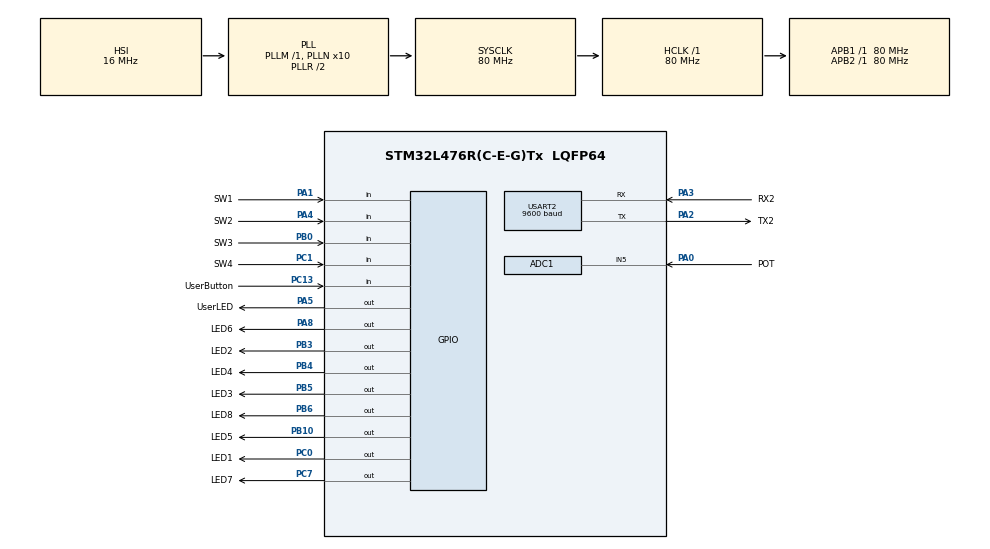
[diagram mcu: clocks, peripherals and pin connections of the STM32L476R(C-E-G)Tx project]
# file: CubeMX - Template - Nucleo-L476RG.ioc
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ADC1.Channel-0\#ChannelRegularConversion=ADC_CHANNEL_5
ADC1.NbrOfConversionFlag=1
ADC1.OffsetNumber-0\#ChannelRegularConversion=ADC_OFFSET_NONE
ADC1.Overrun=ADC_OVR_DATA_OVERWRITTEN
ADC1.Rank-0\#ChannelRegularConversion=1
ADC1.Resolution=ADC_RESOLUTION_12B
ADC1.SamplingTime-0\#ChannelRegularConversion=ADC_SAMPLETIME_2CYCLES_5
ADC1.master=1
Dma.Request0=USART2_RX
Dma.USART2_RX.0.Direction=DMA_PERIPH_TO_MEMORY
Dma.USART2_RX.0.Instance=DMA1_Channel6
Dma.USART2_RX.0.MemDataAlignment=DMA_MDATAALIGN_BYTE
Dma.USART2_RX.0.MemInc=DMA_MINC_ENABLE
Dma.USART2_RX.0.Mode=DMA_NORMAL
Dma.USART2_RX.0.PeriphDataAlignment=DMA_PDATAALIGN_BYTE
Dma.USART2_RX.0.PeriphInc=DMA_PINC_DISABLE
Dma.USART2_RX.0.Priority=DMA_PRIORITY_MEDIUM
Mcu.Family=STM32L4
Mcu.Name=STM32L476R(C-E-G)Tx
Mcu.Package=LQFP64
NVIC.DMA1_Channel6_IRQn=true\:0\:0\:false\:false\:true\:false\:true\:true
NVIC.PriorityGroup=NVIC_PRIORITYGROUP_4
PA0.GPIO_Label=POT
PA0.Signal=ADCx_IN5
PA1.GPIO_Label=SW1
PA1.Signal=GPIO_Input
PA13\ (JTMS-SWDIO).GPIO_Label=TMS
PA13\ (JTMS-SWDIO).Mode=Serial_Wire
PA13\ (JTMS-SWDIO).Signal=SYS_JTMS-SWDIO
PA14\ (JTCK-SWCLK).GPIO_Label=TCK
PA14\ (JTCK-SWCLK).Mode=Serial_Wire
PA14\ (JTCK-SWCLK).Signal=SYS_JTCK-SWCLK
PA2.GPIO_Label=TX2
PA2.GPIO_Mode=GPIO_MODE_AF_PP
PA2.GPIO_PuPd=GPIO_NOPULL
PA2.GPIO_Speed=GPIO_SPEED_FREQ_VERY_HIGH
PA2.Mode=Asynchronous
PA2.Signal=USART2_TX
PA3.GPIO_Label=RX2
PA3.GPIO_Mode=GPIO_MODE_AF_PP
PA3.GPIO_PuPd=GPIO_NOPULL
PA3.GPIO_Speed=GPIO_SPEED_FREQ_VERY_HIGH
PA3.Mode=Asynchronous
PA3.Signal=USART2_RX
PA4.GPIO_Label=SW2
PA4.Signal=GPIO_Input
PA5.GPIO_Label=UserLED
PA5.GPIO_ModeDefaultOutputPP=GPIO_MODE_OUTPUT_PP
PA5.GPIO_PuPd=GPIO_NOPULL
PA5.GPIO_Speed=GPIO_SPEED_FREQ_LOW
PA5.Signal=GPIO_Output
PA8.GPIO_Label=LED6
PA8.Signal=GPIO_Output
PB0.GPIO_Label=SW3
PB0.Signal=GPIO_Input
PB10.GPIO_Label=LED5
PB10.Signal=GPIO_Output
PB3\ (JTDO-TRACESWO).GPIO_Label=LED2
PB3\ (JTDO-TRACESWO).Signal=GPIO_Output
PB4\ (NJTRST).GPIO_Label=LED4
PB4\ (NJTRST).Signal=GPIO_Output
PB5.GPIO_Label=LED3
PB5.Signal=GPIO_Output
PB6.GPIO_Label=LED8
PB6.Signal=GPIO_Output
PC0.GPIO_Label=LED1
PC0.Signal=GPIO_Output
PC1.GPIO_Label=SW4
PC1.Signal=GPIO_Input
PC13.GPIO_Label=UserButton
PC13.Signal=GPIO_Input
PC7.GPIO_Label=LED7
PC7.Signal=GPIO_Output
ProjectManager.HeapSize=0x200
ProjectManager.StackSize=0x400
ProjectManager.TargetToolchain=MDK-ARM V5.32
RCC.ADCFreq_Value=64000000
RCC.AHBFreq_Value=80000000
RCC.APB1Freq_Value=80000000
RCC.APB1TimFreq_Value=80000000
RCC.APB2Freq_Value=80000000
RCC.APB2TimFreq_Value=80000000
RCC.CortexFreq_Value=80000000
RCC.HCLKFreq_Value=80000000
RCC.HSE_VALUE=8000000
RCC.HSI_VALUE=16000000
RCC.LSE_VALUE=32768
RCC.MSI_VALUE=4000000
RCC.PLLN=10
RCC.PLLSourceVirtual=RCC_PLLSOURCE_HSI
RCC.PREFETCH_ENABLE=1
RCC.SYSCLKFreq_VALUE=80000000
RCC.SYSCLKSource=RCC_SYSCLKSOURCE_PLLCLK
RCC.USBFreq_Value=64000000
RCC.VCOOutputFreq_Value=160000000
SH.ADCx_IN5.0=ADC1_IN5,IN5-Single-Ended
USART2.BaudRate=9600
USART2.OverrunDisableParam=ADVFEATURE_OVERRUN_DISABLE
USART2.VirtualMode-Asynchronous=VM_ASYNC
board=NUCLEO-L476RG

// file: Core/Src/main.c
/* USER CODE BEGIN Header */
/**
  ******************************************************************************
  * @file           : main.c
  * @brief          : Main program body
  ******************************************************************************
  * @attention
  *
  * Copyright (c) 2023 STMicroelectronics.
  * All rights reserved.
  *
  * This software is licensed under terms that can be found in the LICENSE file
  * in the root directory of this software component.
  * If no LICENSE file comes with this software, it is provided AS-IS.
  *
  ******************************************************************************
  */
	// Versie: 20252026
/* USER CODE END Header */
#include "main.h"

/* USER CODE BEGIN Includes */
#include "leds.h"
#include "buttons.h"
#include "usart2.h"
#include "stdio.h"
#include "string.h"
/* USER CODE END Includes */

/* USER CODE BEGIN PD */
#define NUMBER_OF_BYTES_TO_RECEIVE 10
/* USER CODE END PD */

ADC_HandleTypeDef hadc1;

UART_HandleTypeDef huart2;
DMA_HandleTypeDef hdma_usart2_rx;

/* USER CODE BEGIN PV */
volatile static bool dataReceived = false;
static uint8_t destination[NUMBER_OF_BYTES_TO_RECEIVE];
/* USER CODE END PV */

void SystemClock_Config(void);
static void MX_GPIO_Init(void);
static void MX_DMA_Init(void);
static void MX_ADC1_Init(void);
static void MX_USART2_UART_Init(void);

int main(void)
{

  /* MCU Configuration--------------------------------------------------------*/

  /* Reset of all peripherals, Initializes the Flash interface and the Systick. */
  HAL_Init();

  /* Configure the system clock */
  SystemClock_Config();

  /* Initialize all configured peripherals */
  MX_GPIO_Init();
  MX_DMA_Init();
  MX_ADC1_Init();
  MX_USART2_UART_Init();
  /* USER CODE BEGIN 2 */
	// Laten weten dat we opgestart zijn, via de USART2 (USB).
	printf("Reboot\r\n");

	// Ontvangst van 10 bytes via DMA starten.
	HAL_UART_Receive_DMA(&huart2, destination, NUMBER_OF_BYTES_TO_RECEIVE);

  /* USER CODE END 2 */

  /* Infinite loop */
  /* USER CODE BEGIN WHILE */
  while (1)
  {
		// Is er data ontvangen via DMA?
		if(dataReceived)
		{
			// Melding wissen.
			dataReceived = false;

			// Gebruiker informeren (niet via DMA).
			printf("Ten bytes data reception complete...\r\n");
		}

    /* USER CODE END WHILE */

  }
}

void SystemClock_Config(void)
{
  RCC_OscInitTypeDef RCC_OscInitStruct = {0};
  RCC_ClkInitTypeDef RCC_ClkInitStruct = {0};

  /** Configure the main internal regulator output voltage
  */
  if (HAL_PWREx_ControlVoltageScaling(PWR_REGULATOR_VOLTAGE_SCALE1) != HAL_OK)
  {
    Error_Handler();
  }

  /** Initializes the RCC Oscillators according to the specified parameters
  * in the RCC_OscInitTypeDef structure.
  */
  RCC_OscInitStruct.OscillatorType = RCC_OSCILLATORTYPE_HSI;
  RCC_OscInitStruct.HSIState = RCC_HSI_ON;
  RCC_OscInitStruct.HSICalibrationValue = RCC_HSICALIBRATION_DEFAULT;
  RCC_OscInitStruct.PLL.PLLState = RCC_PLL_ON;
  RCC_OscInitStruct.PLL.PLLSource = RCC_PLLSOURCE_HSI;
  RCC_OscInitStruct.PLL.PLLM = 1;
  RCC_OscInitStruct.PLL.PLLN = 10;
  RCC_OscInitStruct.PLL.PLLP = RCC_PLLP_DIV7;
  RCC_OscInitStruct.PLL.PLLQ = RCC_PLLQ_DIV2;
  RCC_OscInitStruct.PLL.PLLR = RCC_PLLR_DIV2;
  if (HAL_RCC_OscConfig(&RCC_OscInitStruct) != HAL_OK)
  {
    Error_Handler();
  }

  /** Initializes the CPU, AHB and APB buses clocks
  */
  RCC_ClkInitStruct.ClockType = RCC_CLOCKTYPE_HCLK|RCC_CLOCKTYPE_SYSCLK
                              |RCC_CLOCKTYPE_PCLK1|RCC_CLOCKTYPE_PCLK2;
  RCC_ClkInitStruct.SYSCLKSource = RCC_SYSCLKSOURCE_PLLCLK;
  RCC_ClkInitStruct.AHBCLKDivider = RCC_SYSCLK_DIV1;
  RCC_ClkInitStruct.APB1CLKDivider = RCC_HCLK_DIV1;
  RCC_ClkInitStruct.APB2CLKDivider = RCC_HCLK_DIV1;

  if (HAL_RCC_ClockConfig(&RCC_ClkInitStruct, FLASH_LATENCY_4) != HAL_OK)
  {
    Error_Handler();
  }
}

static void MX_ADC1_Init(void)
{

  ADC_MultiModeTypeDef multimode = {0};
  ADC_ChannelConfTypeDef sConfig = {0};

  /** Common config
  */
  hadc1.Instance = ADC1;
  hadc1.Init.ClockPrescaler = ADC_CLOCK_ASYNC_DIV1;
  hadc1.Init.Resolution = ADC_RESOLUTION_12B;
  hadc1.Init.DataAlign = ADC_DATAALIGN_RIGHT;
  hadc1.Init.ScanConvMode = ADC_SCAN_DISABLE;
  hadc1.Init.EOCSelection = ADC_EOC_SINGLE_CONV;
  hadc1.Init.LowPowerAutoWait = DISABLE;
  hadc1.Init.ContinuousConvMode = DISABLE;
  hadc1.Init.NbrOfConversion = 1;
  hadc1.Init.DiscontinuousConvMode = DISABLE;
  hadc1.Init.ExternalTrigConv = ADC_SOFTWARE_START;
  hadc1.Init.ExternalTrigConvEdge = ADC_EXTERNALTRIGCONVEDGE_NONE;
  hadc1.Init.DMAContinuousRequests = DISABLE;
  hadc1.Init.Overrun = ADC_OVR_DATA_OVERWRITTEN;
  hadc1.Init.OversamplingMode = DISABLE;
  if (HAL_ADC_Init(&hadc1) != HAL_OK)
  {
    Error_Handler();
  }

  /** Configure the ADC multi-mode
  */
  multimode.Mode = ADC_MODE_INDEPENDENT;
  if (HAL_ADCEx_MultiModeConfigChannel(&hadc1, &multimode) != HAL_OK)
  {
    Error_Handler();
  }

  /** Configure Regular Channel
  */
  sConfig.Channel = ADC_CHANNEL_5;
  sConfig.Rank = ADC_REGULAR_RANK_1;
  sConfig.SamplingTime = ADC_SAMPLETIME_2CYCLES_5;
  sConfig.SingleDiff = ADC_SINGLE_ENDED;
  sConfig.OffsetNumber = ADC_OFFSET_NONE;
  sConfig.Offset = 0;
  if (HAL_ADC_ConfigChannel(&hadc1, &sConfig) != HAL_OK)
  {
    Error_Handler();
  }

}

static void MX_USART2_UART_Init(void)
{

  huart2.Instance = USART2;
  huart2.Init.BaudRate = 9600;
  huart2.Init.WordLength = UART_WORDLENGTH_8B;
  huart2.Init.StopBits = UART_STOPBITS_1;
  huart2.Init.Parity = UART_PARITY_NONE;
  huart2.Init.Mode = UART_MODE_TX_RX;
  huart2.Init.HwFlowCtl = UART_HWCONTROL_NONE;
  huart2.Init.OverSampling = UART_OVERSAMPLING_16;
  huart2.Init.OneBitSampling = UART_ONE_BIT_SAMPLE_DISABLE;
  huart2.AdvancedInit.AdvFeatureInit = UART_ADVFEATURE_RXOVERRUNDISABLE_INIT;
  huart2.AdvancedInit.OverrunDisable = UART_ADVFEATURE_OVERRUN_DISABLE;
  if (HAL_UART_Init(&huart2) != HAL_OK)
  {
    Error_Handler();
  }

}

static void MX_DMA_Init(void)
{

  /* DMA controller clock enable */
  __HAL_RCC_DMA1_CLK_ENABLE();

  /* DMA interrupt init */
  /* DMA1_Channel6_IRQn interrupt configuration */
  HAL_NVIC_SetPriority(DMA1_Channel6_IRQn, 0, 0);
  HAL_NVIC_EnableIRQ(DMA1_Channel6_IRQn);

}

static void MX_GPIO_Init(void)
{
  GPIO_InitTypeDef GPIO_InitStruct = {0};

  /* GPIO Ports Clock Enable */
  __HAL_RCC_GPIOC_CLK_ENABLE();
  __HAL_RCC_GPIOA_CLK_ENABLE();
  __HAL_RCC_GPIOB_CLK_ENABLE();

  /*Configure GPIO pin Output Level */
  HAL_GPIO_WritePin(GPIOC, LED1_Pin|LED7_Pin, GPIO_PIN_RESET);

  /*Configure GPIO pin Output Level */
  HAL_GPIO_WritePin(GPIOA, UserLED_Pin|LED6_Pin, GPIO_PIN_RESET);

  /*Configure GPIO pin Output Level */
  HAL_GPIO_WritePin(GPIOB, LED5_Pin|LED2_Pin|LED4_Pin|LED3_Pin
                          |LED8_Pin, GPIO_PIN_RESET);

  /*Configure GPIO pins : UserButton_Pin SW4_Pin */
  GPIO_InitStruct.Pin = UserButton_Pin|SW4_Pin;
  GPIO_InitStruct.Mode = GPIO_MODE_INPUT;
  GPIO_InitStruct.Pull = GPIO_NOPULL;
  HAL_GPIO_Init(GPIOC, &GPIO_InitStruct);

  /*Configure GPIO pins : LED1_Pin LED7_Pin */
  GPIO_InitStruct.Pin = LED1_Pin|LED7_Pin;
  GPIO_InitStruct.Mode = GPIO_MODE_OUTPUT_PP;
  GPIO_InitStruct.Pull = GPIO_NOPULL;
  GPIO_InitStruct.Speed = GPIO_SPEED_FREQ_LOW;
  HAL_GPIO_Init(GPIOC, &GPIO_InitStruct);

  /*Configure GPIO pins : SW1_Pin SW2_Pin */
  GPIO_InitStruct.Pin = SW1_Pin|SW2_Pin;
  GPIO_InitStruct.Mode = GPIO_MODE_INPUT;
  GPIO_InitStruct.Pull = GPIO_NOPULL;
  HAL_GPIO_Init(GPIOA, &GPIO_InitStruct);

  /*Configure GPIO pins : UserLED_Pin LED6_Pin */
  GPIO_InitStruct.Pin = UserLED_Pin|LED6_Pin;
  GPIO_InitStruct.Mode = GPIO_MODE_OUTPUT_PP;
  GPIO_InitStruct.Pull = GPIO_NOPULL;
  GPIO_InitStruct.Speed = GPIO_SPEED_FREQ_LOW;
  HAL_GPIO_Init(GPIOA, &GPIO_InitStruct);

  /*Configure GPIO pin : SW3_Pin */
  GPIO_InitStruct.Pin = SW3_Pin;
  GPIO_InitStruct.Mode = GPIO_MODE_INPUT;
  GPIO_InitStruct.Pull = GPIO_NOPULL;
  HAL_GPIO_Init(SW3_GPIO_Port, &GPIO_InitStruct);

  /*Configure GPIO pins : LED5_Pin LED2_Pin LED4_Pin LED3_Pin
                           LED8_Pin */
  GPIO_InitStruct.Pin = LED5_Pin|LED2_Pin|LED4_Pin|LED3_Pin
                          |LED8_Pin;
  GPIO_InitStruct.Mode = GPIO_MODE_OUTPUT_PP;
  GPIO_InitStruct.Pull = GPIO_NOPULL;
  GPIO_InitStruct.Speed = GPIO_SPEED_FREQ_LOW;
  HAL_GPIO_Init(GPIOB, &GPIO_InitStruct);

}

/* USER CODE BEGIN 4 */
//// Code hieronder wordt opgeroepen als alle data van HAL_UART_Transmit_DMA() verzonden is...
//// Deze functie wordt opgeroepen vanuit ...
//void HAL_UART_TxCpltCallback(UART_HandleTypeDef *UartHandle)
//{
//
//}

// De code hieronder wordt opgeroepen als alle data van HAL_UART_Receive_DMA(() ontvangen is...
// Deze functie wordt opgeroepen vanuit:
// 		DMA1_Channel6_IRQHandler() -> HAL_DMA_IRQHandler() -> HAL_UART_RxCpltCallback().
void HAL_UART_RxCpltCallback(UART_HandleTypeDef *UartHandle)
{
	// Is het data van UART2?
	if(UartHandle->Instance == USART2)
	{
		ToggleLed(8);												// Teken van leven geven...
		dataReceived = true;								// Melden aan de hoofdlus.

		// Ontvangst via DMA opnieuw starten. Want in het DMA1_Channel6->CCR register,
		// wordt de TCIE bit automatisch uitgeschakeld.
		// Dat gebeurt in: HAL_DMA_IRQHandler().
		HAL_UART_Receive_DMA(&huart2, destination, NUMBER_OF_BYTES_TO_RECEIVE);
	}
}
/* USER CODE END 4 */

void Error_Handler(void)
{
  __disable_irq();
  while (1)
  {
  }
}
#ifdef USE_FULL_ASSERT
/**
  * @brief  Reports the name of the source file and the source line number
  *         where the assert_param error has occurred.
  * @param  file: pointer to the source file name
  * @param  line: assert_param error line source number
  * @retval None
  */
void assert_failed(uint8_t *file, uint32_t line)
{
  /* USER CODE BEGIN 6 */
  /* User can add his own implementation to report the file name and line number,
     ex: printf("Wrong parameters value: file %s on line %d\r\n", file, line) */
// Versie: 20252026
  /* USER CODE END 6 */
}
#endif /* USE_FULL_ASSERT */
